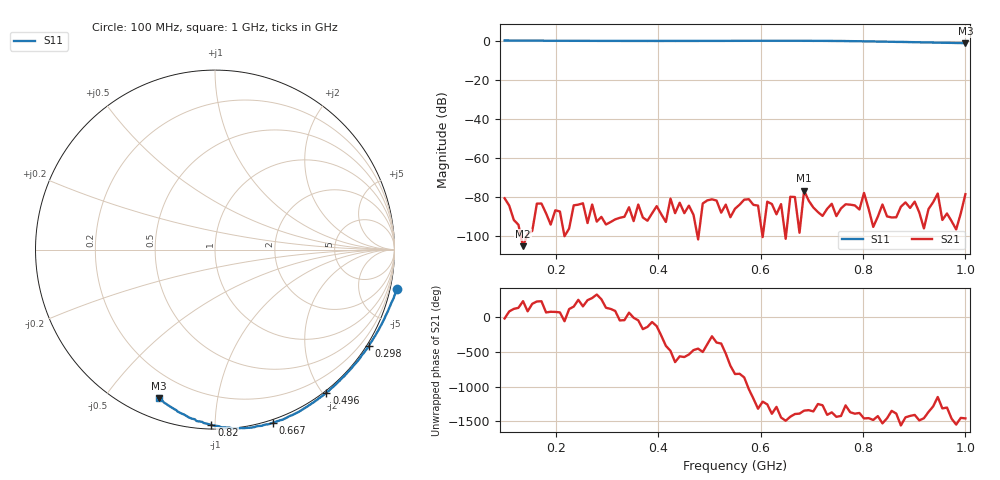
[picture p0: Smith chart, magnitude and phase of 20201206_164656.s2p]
# HZ S RI R 50
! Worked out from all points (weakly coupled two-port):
!   101 points, 100 MHz to 1 GHz, reference 50 ohm
!   highest |S21| = -76.80 dB at 685 MHz (marker M1); lowest = -105.3 dB at 136 MHz (marker M2)
!   lowest |S11| = -1.1 dB at 1 GHz (marker M3), VSWR 16.44, Z = 4.48 - j34.3 ohm
!   |S11| at or under -10 dB: nowhere
!   S12 and S22 are empty: the file has one direction only
!   S11 on the Smith chart (normalised r, x): 100 MHz: -1.54, -9.10; 298 MHz: -0.07, -3.47; 496 MHz: -0.03, -2.05; 667 MHz: -0.02, -1.39; 820 MHz: 0.02, -0.98; 1 GHz: 0.09, -0.69
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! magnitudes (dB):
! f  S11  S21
! 100 MHz  0.3  -80.7
! 136 MHz  0.3  -105.3
! 253 MHz  0.1  -83.2
! 298 MHz  0.1  -94.1
! 406 MHz  0.1  -88.9
! 496 MHz  0.1  -81.8
! 550 MHz  0.1  -86.1
! 667 MHz  0.1  -80.0
! 676 MHz  0.2  -98.4
! 685 MHz  0.1  -76.8
! 694 MHz  0.1  -82.0
! 703 MHz  0.1  -85.4
! 793 MHz  -0.1  -86.5
! 802 MHz  -0.1  -77.9
! 811 MHz  -0.2  -86.1
! 820 MHz  -0.2  -95.4
! 856 MHz  -0.3  -90.5
! 937 MHz  -0.8  -82.7
! 946 MHz  -0.8  -78.2
! 955 MHz  -0.9  -91.8
! 991 MHz  -1.0  -88.4
! 1 GHz  -1.1  -78.6
